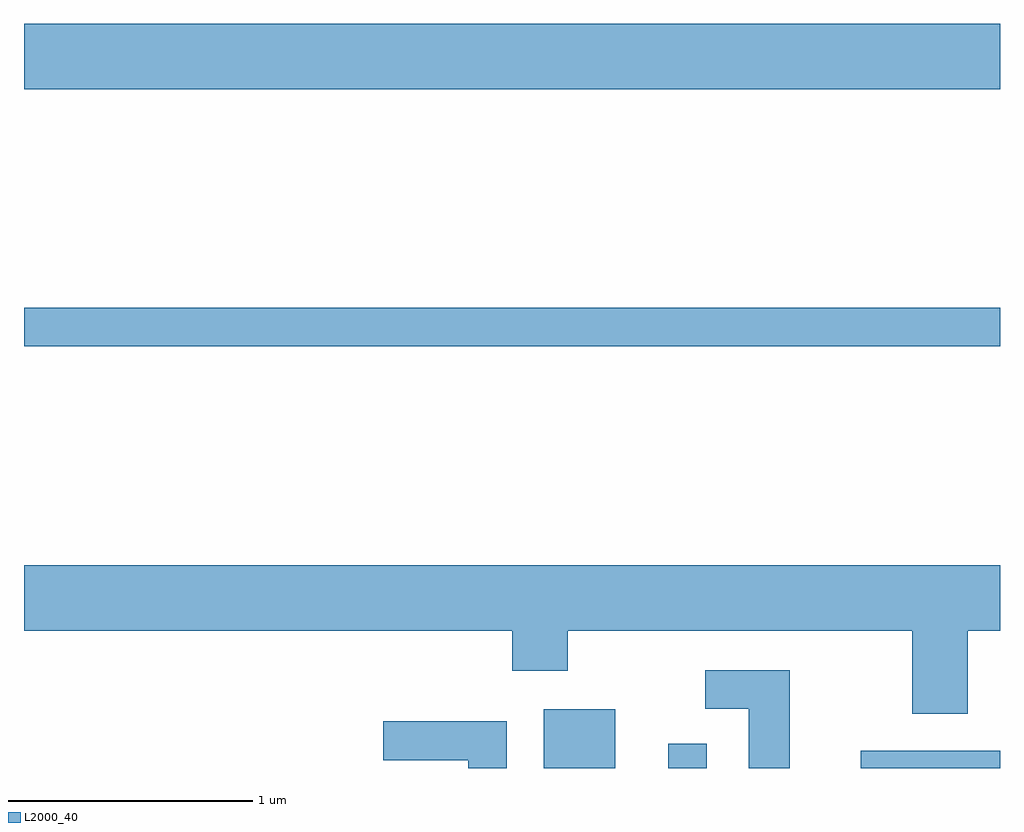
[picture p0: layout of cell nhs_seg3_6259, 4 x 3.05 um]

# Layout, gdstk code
import gdstk
lib = gdstk.Library(unit=1e-6, precision=1e-09)
def R(c, l, rs):  # rectangles x0, y0, x1, y1
    for r in rs: c.add(gdstk.rectangle(r[:2], r[2:], *l))
def P(c, l, *ps):  # polygons
    for p in ps: c.add(gdstk.Polygon(p, *l))
L2000_40 = (2000, 40)

nhs_seg3_6259 = lib.new_cell('nhs_seg3_6259')
R(nhs_seg3_6259, L2000_40, [(371.741,1129.892,372.034,1130.134), (372.251,1129.892,372.409,1129.993), (373.041,1129.892,373.611,1129.964), (369.611,1131.621,373.611,1131.779), (369.611,1132.676,373.611,1132.944)])
P(nhs_seg3_6259, L2000_40, [(373.479,1130.456),(373.611,1130.456),(373.611,1130.724),(369.611,1130.724),(369.611,1130.456),(371.611,1130.456),(371.611,1130.291),(371.839,1130.291),(371.839,1130.456),(373.251,1130.456),(373.251,1130.116),(373.479,1130.116)],
  [(372.749,1130.294),(372.403,1130.294),(372.403,1130.136),(372.581,1130.136),(372.581,1129.892),(372.749,1129.892)],
  [(371.589,1130.084),(371.083,1130.084),(371.083,1129.926),(371.431,1129.926),(371.431,1129.892),(371.589,1129.892)])

lib.write_gds('nhs_seg3_6259.gds')
